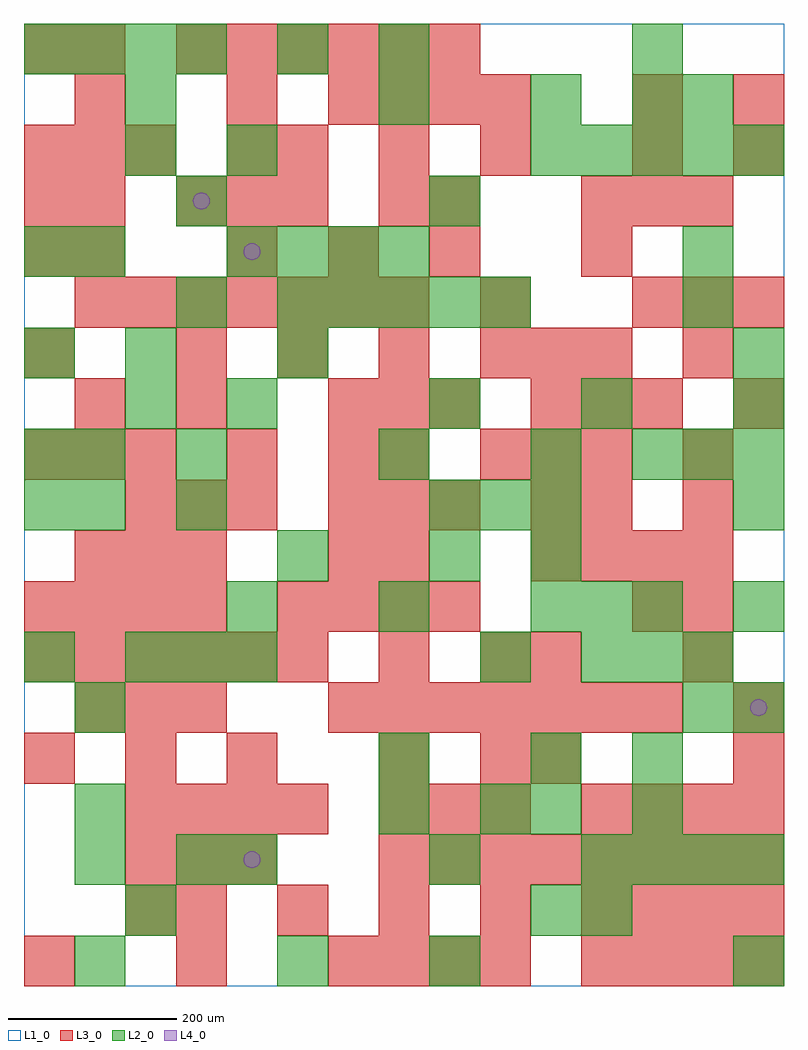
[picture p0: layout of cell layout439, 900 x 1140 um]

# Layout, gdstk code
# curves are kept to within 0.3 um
import gdstk
lib = gdstk.Library(unit=1e-6, precision=1e-09)
def R(c, l, rs):  # rectangles x0, y0, x1, y1
    for r in rs: c.add(gdstk.rectangle(r[:2], r[2:], *l))
def A(c, l, x, y, w, h, nx, ny, dx, dy):  # array of equal rectangles
    R(c, l, [(x+i*dx, y+j*dy, x+i*dx+w, y+j*dy+h) for i in range(nx) for j in range(ny)])
def P(c, l, *ps):  # polygons
    for p in ps: c.add(gdstk.Polygon(p, *l))
L1_0 = (1, 0)
L2_0 = (2, 0)
L3_0 = (3, 0)
L4_0 = (4, 0)

layout439 = lib.new_cell('layout439')
R(layout439, L1_0, [(0,0,900,1140)])
A(layout439, L2_0, 660, 120, 60, 60, 4, 1, 60, 0)
A(layout439, L2_0, 840, 300, 60, 60, 1, 3, 0, 120)
A(layout439, L2_0, 120, 360, 60, 60, 3, 1, 60, 0)
A(layout439, L2_0, 660, 360, 60, 60, 3, 1, 60, 0)
A(layout439, L2_0, 240, 420, 60, 60, 3, 1, 180, 0)
A(layout439, L2_0, 480, 540, 60, 60, 3, 1, 60, 0)
A(layout439, L2_0, 0, 600, 60, 60, 1, 3, 0, 120)
A(layout439, L2_0, 720, 600, 60, 60, 3, 1, 60, 0)
A(layout439, L2_0, 480, 660, 60, 60, 3, 1, 180, 0)
A(layout439, L2_0, 300, 780, 60, 60, 5, 1, 60, 0)
A(layout439, L2_0, 240, 840, 60, 60, 4, 1, 60, 0)
A(layout439, L2_0, 600, 960, 60, 60, 5, 1, 60, 0)
A(layout439, L2_0, 0, 1080, 60, 60, 4, 1, 60, 0)
R(layout439, L2_0, [(60,0,120,60), (300,0,360,60), (480,0,540,60), (840,0,900,60), (120,60,180,120), (600,60,660,120), (660,60,720,120), (60,120,120,180), (180,120,240,180), (240,120,300,180), (480,120,540,180), (60,180,120,240), (420,180,480,240), (540,180,600,240), (600,180,660,240), (720,180,780,240), (420,240,480,300), (600,240,660,300), (720,240,780,300), (60,300,120,360), (780,300,840,360), (0,360,60,420), (540,360,600,420), (660,420,720,480), (720,420,780,480), (300,480,360,540), (480,480,540,540), (600,480,660,540), (0,540,60,600), (60,540,120,600), (180,540,240,600), (60,600,120,660), (180,600,240,660), (420,600,480,660), (600,600,660,660), (120,660,180,720), (240,660,300,720), (120,720,180,780), (300,720,360,780), (840,720,900,780), (180,780,240,840), (780,780,840,840), (60,840,120,900), (780,840,840,900), (180,900,240,960), (480,900,540,960), (120,960,180,1020), (240,960,300,1020), (120,1020,180,1080), (420,1020,480,1080), (600,1020,660,1080), (720,1020,780,1080), (780,1020,840,1080), (300,1080,360,1140), (420,1080,480,1140), (720,1080,780,1140)])
A(layout439, L3_0, 0, 0, 60, 60, 3, 1, 180, 0)
A(layout439, L3_0, 420, 0, 60, 60, 3, 2, 60, 180)
A(layout439, L3_0, 660, 0, 60, 60, 4, 2, 60, 180)
A(layout439, L3_0, 180, 60, 60, 60, 5, 1, 120, 0)
A(layout439, L3_0, 720, 60, 60, 60, 3, 2, 60, 720)
A(layout439, L3_0, 120, 120, 60, 60, 3, 2, 60, 420)
A(layout439, L3_0, 420, 120, 60, 60, 8, 1, 60, 0)
A(layout439, L3_0, 120, 180, 60, 60, 4, 1, 60, 0)
A(layout439, L3_0, 0, 240, 60, 60, 3, 1, 120, 0)
A(layout439, L3_0, 420, 240, 60, 60, 1, 4, 0, 120)
A(layout439, L3_0, 60, 300, 60, 60, 3, 2, 60, 180)
A(layout439, L3_0, 360, 300, 60, 60, 7, 1, 60, 0)
A(layout439, L3_0, 0, 360, 60, 60, 6, 1, 60, 0)
A(layout439, L3_0, 600, 360, 60, 60, 1, 3, 0, 180)
A(layout439, L3_0, 0, 420, 60, 60, 4, 1, 60, 0)
A(layout439, L3_0, 300, 420, 60, 60, 4, 1, 60, 0)
A(layout439, L3_0, 600, 480, 60, 60, 4, 1, 60, 0)
A(layout439, L3_0, 360, 540, 60, 60, 3, 2, 60, 120)
A(layout439, L3_0, 0, 600, 60, 60, 3, 2, 60, 360)
A(layout439, L3_0, 540, 600, 60, 60, 3, 1, 60, 0)
A(layout439, L3_0, 600, 660, 60, 60, 3, 1, 60, 0)
A(layout439, L3_0, 180, 720, 60, 60, 4, 1, 120, 0)
A(layout439, L3_0, 60, 780, 60, 60, 7, 1, 60, 0)
A(layout439, L3_0, 240, 840, 60, 60, 3, 1, 120, 0)
A(layout439, L3_0, 180, 900, 60, 60, 3, 1, 60, 0)
A(layout439, L3_0, 660, 900, 60, 60, 3, 1, 60, 0)
A(layout439, L3_0, 300, 960, 60, 60, 3, 1, 120, 0)
A(layout439, L3_0, 360, 1020, 60, 60, 4, 1, 60, 0)
A(layout439, L3_0, 180, 1080, 60, 60, 6, 1, 60, 0)
R(layout439, L3_0, [(120,60,180,120), (540,240,600,300), (600,240,660,300), (840,240,900,300), (840,300,900,360), (540,360,600,420), (780,360,840,420), (720,420,780,480), (780,420,840,480), (360,480,420,540), (660,540,720,600), (780,540,840,600), (240,600,300,660), (360,600,420,660), (780,600,840,660), (60,660,120,720), (180,660,240,720), (840,660,900,720), (0,720,60,780), (660,720,720,780), (780,720,840,780), (540,780,600,840), (0,840,60,900), (60,840,120,900), (660,840,720,900), (0,900,60,960), (60,900,120,960), (420,900,480,960), (480,900,540,960), (240,960,300,1020), (720,960,780,1020), (840,960,900,1020), (60,1020,120,1080), (240,1020,300,1080), (720,1020,780,1080), (840,1020,900,1080), (0,1080,60,1140), (60,1080,120,1140)])
P(layout439, L4_0, [(220,930),(219.239,933.827),(217.071,937.071),(213.827,939.239),(210,940),(206.173,939.239),(202.929,937.071),(200.761,933.827),(200,930),(200.761,926.173),(202.929,922.929),(206.173,920.761),(210,920),(213.827,920.761),(217.071,922.929),(219.239,926.173)],
  [(280,150),(279.239,153.827),(277.071,157.071),(273.827,159.239),(270,160),(266.173,159.239),(262.929,157.071),(260.761,153.827),(260,150),(260.761,146.173),(262.929,142.929),(266.173,140.761),(270,140),(273.827,140.761),(277.071,142.929),(279.239,146.173)],
  [(280,870),(279.239,873.827),(277.071,877.071),(273.827,879.239),(270,880),(266.173,879.239),(262.929,877.071),(260.761,873.827),(260,870),(260.761,866.173),(262.929,862.929),(266.173,860.761),(270,860),(273.827,860.761),(277.071,862.929),(279.239,866.173)],
  [(880,330),(879.239,333.827),(877.071,337.071),(873.827,339.239),(870,340),(866.173,339.239),(862.929,337.071),(860.761,333.827),(860,330),(860.761,326.173),(862.929,322.929),(866.173,320.761),(870,320),(873.827,320.761),(877.071,322.929),(879.239,326.173)])

lib.write_gds('layout439.gds')
